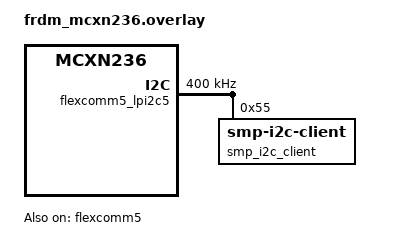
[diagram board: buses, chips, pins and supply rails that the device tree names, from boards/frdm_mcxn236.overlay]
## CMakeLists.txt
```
# Copyright (c) 2026 Aerlync Labs Inc.
# SPDX-License-Identifier: Apache-2.0

cmake_minimum_required(VERSION 3.20.0)
find_package(Zephyr REQUIRED HINTS $ENV{ZEPHYR_BASE})
project(smp_i2c_client_dfu)

target_sources(app PRIVATE src/main.c)
zephyr_library_link_libraries(MCUBOOT_BOOTUTIL)

# The firmware image this controller uploads to the target is supplied at
# build time via CONFIG_APP_DFU_IMAGE_FILE (a signed MCUboot image, e.g.
# build/zephyr/zephyr.signed.bin), not committed to the tree. When it is unset
# a tiny placeholder is generated so the sample still builds; the placeholder
# is not a usable image.
set(dfu_image_inc ${ZEPHYR_BINARY_DIR}/include/generated/dfu_image.inc)
if(CONFIG_APP_DFU_IMAGE_FILE STREQUAL "")
  message(WARNING
    "CONFIG_APP_DFU_IMAGE_FILE is not set; building with a placeholder image. "
    "Set it to a signed image to perform a real DFU.")
  set(dfu_image_src ${CMAKE_CURRENT_BINARY_DIR}/placeholder_dfu_image.bin)
  file(WRITE ${dfu_image_src} "PLACEHOLDER-IMAGE")
else()
  set(dfu_image_src ${CONFIG_APP_DFU_IMAGE_FILE})
endif()
generate_inc_file_for_target(app ${dfu_image_src} ${dfu_image_inc})
```

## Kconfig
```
# Copyright (c) 2026 Aerlync Labs Inc.
# SPDX-License-Identifier: Apache-2.0

mainmenu "MCUmgr SMP I2C Client DFU Sample"

config APP_DFU_IMAGE_FILE
	string "Path to the signed MCUboot image to upload"
	default ""
	help
	  Absolute path to a signed image (for example build/zephyr/zephyr.signed.bin)
	  that this controller uploads to the target over I2C. When empty, a
	  non-functional placeholder is compiled in so the sample still builds.

source "Kconfig.zephyr"
```

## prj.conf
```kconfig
#
# Copyright (c) 2026 Aerlync Labs Inc.
# SPDX-License-Identifier: Apache-2.0
#

CONFIG_LOG=y
CONFIG_LOG_MODE_IMMEDIATE=y
CONFIG_I2C=y
CONFIG_GPIO=y

# MCUboot bootutil library for image structures
CONFIG_MCUBOOT_BOOTUTIL_LIB=y
CONFIG_BASE64=y
CONFIG_CRC=y

# Stacks
CONFIG_MAIN_STACK_SIZE=4096
CONFIG_SYSTEM_WORKQUEUE_STACK_SIZE=4096
CONFIG_MCUMGR_TRANSPORT_WORKQUEUE_STACK_SIZE=4096

# MCUmgr Core & Net Buffer Pool
CONFIG_MCUMGR=y
CONFIG_NET_BUF=y
CONFIG_ZCBOR=y
CONFIG_MCUMGR_TRANSPORT_NETBUF_SIZE=384
CONFIG_MCUMGR_TRANSPORT_NETBUF_COUNT=8

# SMP Client Subsystem
CONFIG_SMP_CLIENT=y
CONFIG_SMP_CMD_RETRY_TIME=500
CONFIG_SMP_CMD_DEFAULT_LIFE_TIME=15

# I2C Client Transport
CONFIG_MCUMGR_TRANSPORT_I2C_CLIENT=y
CONFIG_MCUMGR_TRANSPORT_I2C_CLIENT_MTU=256
CONFIG_MCUMGR_TRANSPORT_I2C_CLIENT_POLL_MS=5
CONFIG_MCUMGR_TRANSPORT_I2C_CLIENT_POLL_RETRIES=2000

# MCUmgr Client Groups
CONFIG_MCUMGR_GRP_OS_CLIENT=y
CONFIG_MCUMGR_GRP_OS_CLIENT_ECHO=y
CONFIG_MCUMGR_GRP_OS_CLIENT_RESET=y

CONFIG_MCUMGR_GRP_IMG_CLIENT=y
CONFIG_MCUMGR_GRP_IMG_FLASH_OPERATION_TIMEOUT=20
```

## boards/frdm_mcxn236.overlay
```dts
/*
 * Copyright (c) 2026 Aerlync Labs Inc.
 * SPDX-License-Identifier: Apache-2.0
 *
 * frdm_mcxn236 acting as the I2C controller for the DFU sample. Wire three
 * lines across to the target board running zephyr,smp-i2c: SDA on header pin
 * J2-18 (Arduino D14), SCL on J2-20 (Arduino D15), and ground on J3-14. The
 * target uses the same pins, so it is pin J2-18 to J2-18, J2-20 to J2-20,
 * and J3-14 to J3-14.
 */

/* Enable gpio0 for LED status indicators */
&gpio0 {
	status = "okay";
};

/* Parent LPFLEXCOMM5 container */
&flexcomm5 {
	status = "okay";
};

/* FlexComm5 configured in LPI2C controller mode */
&flexcomm5_lpi2c5 {
	pinctrl-0 = <&pinmux_flexcomm5_lpi2c>;
	pinctrl-names = "default";
	clock-frequency = <I2C_BITRATE_FAST>;
	status = "okay";

	smp_i2c_client: smp-i2c-client@55 {
		compatible = "zephyr,smp-i2c-client";
		reg = <0x55>;
		status = "okay";
	};
};
```

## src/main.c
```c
/*
 * Copyright (c) 2026 Aerlync Labs Inc.
 *
 * SPDX-License-Identifier: Apache-2.0
 *
 * Firmware update of a target board over I2C, using the SMP client APIs.
 * The target runs an MCUmgr SMP server on the zephyr,smp-i2c transport. This
 * controller echoes the target, uploads a signed image to the second slot,
 * marks it for test, resets the target, and confirms the image once the
 * target answers again.
 */

#include <zephyr/kernel.h>
#include <zephyr/device.h>
#include <zephyr/drivers/gpio.h>
#include <zephyr/logging/log.h>
#include <zephyr/sys/byteorder.h>
#include <string.h>

#include <zephyr/mgmt/mcumgr/mgmt/mgmt.h>
#include <zephyr/mgmt/mcumgr/smp/smp.h>
#include <zephyr/mgmt/mcumgr/smp/smp_client.h>
#include <zephyr/mgmt/mcumgr/transport/smp.h>
#include <zephyr/mgmt/mcumgr/grp/os_mgmt/os_mgmt_client.h>
#include <zephyr/mgmt/mcumgr/grp/img_mgmt/img_mgmt_client.h>

/*
 * The signed image to upload is injected at build time from
 * CONFIG_APP_DFU_IMAGE_FILE (see CMakeLists.txt and Kconfig); it is not
 * committed to the tree.
 */
static const uint8_t dfu_image[] = {
#include "dfu_image.inc"
};
#define DFU_IMAGE_SIZE sizeof(dfu_image)

LOG_MODULE_REGISTER(smp_i2c_client_dfu, LOG_LEVEL_INF);

#define UPLOAD_CHUNK_SIZE 160U
#define SHA256_LEN        32U

/* Optional LEDs for visual feedback */
static const struct gpio_dt_spec led_green = GPIO_DT_SPEC_GET_OR(DT_ALIAS(led1), gpios, {0});
static const struct gpio_dt_spec led_red = GPIO_DT_SPEC_GET_OR(DT_ALIAS(led0), gpios, {0});

static struct smp_client_object smp_client;
static struct os_mgmt_client os_client;
static struct img_mgmt_client img_client;
static struct mcumgr_image_data img_slots[4];

struct mcuboot_hdr {
	uint32_t ih_magic;
	uint32_t ih_load_addr;
	uint16_t ih_hdr_size;
	uint16_t ih_protect_tlv_size;
	uint32_t ih_img_size;
	uint32_t ih_flags;
	struct {
		uint8_t major;
		uint8_t minor;
		uint16_t revision;
		uint32_t build_num;
	} ih_ver;
	uint32_t _pad;
} __packed;

struct tlv_info {
	uint16_t it_magic;
	uint16_t it_tlv_tot;
} __packed;

struct tlv_entry {
	uint8_t it_type;
	uint8_t _pad;
	uint16_t it_len;
} __packed;

static bool extract_sha256(const uint8_t *img, size_t size, uint8_t *sha_out)
{
	if (size < sizeof(struct mcuboot_hdr)) {
		return false;
	}

	const struct mcuboot_hdr *hdr = (const struct mcuboot_hdr *)img;

	if (sys_le32_to_cpu(hdr->ih_magic) != 0x96f3b83d) {
		LOG_WRN("MCUboot magic missing in image");
		return false;
	}

	uint32_t hdr_sz = sys_le16_to_cpu(hdr->ih_hdr_size);
	uint32_t img_sz = sys_le32_to_cpu(hdr->ih_img_size);
	uint32_t prot_sz = sys_le16_to_cpu(hdr->ih_protect_tlv_size);
	size_t tlv_off = hdr_sz + img_sz + prot_sz;

	if (tlv_off + sizeof(struct tlv_info) > size) {
		LOG_WRN("Image too short for TLV area");
		return false;
	}

	const struct tlv_info *tinfo = (const struct tlv_info *)(img + tlv_off);

	if (sys_le16_to_cpu(tinfo->it_magic) != 0x6907) {
		LOG_WRN("TLV magic mismatch: 0x%04x", sys_le16_to_cpu(tinfo->it_magic));
		return false;
	}

	size_t cur = tlv_off + sizeof(struct tlv_info);
	size_t end = tlv_off + sys_le16_to_cpu(tinfo->it_tlv_tot);

	if (end > size) {
		end = size;
	}

	while (cur + sizeof(struct tlv_entry) <= end) {
		const struct tlv_entry *entry = (const struct tlv_entry *)(img + cur);
		uint16_t entry_len = sys_le16_to_cpu(entry->it_len);

		if (entry->it_type == 0x10 && entry_len == SHA256_LEN) {
			memcpy(sha_out, img + cur + sizeof(struct tlv_entry), SHA256_LEN);
			return true;
		}
		cur += sizeof(struct tlv_entry) + entry_len;
	}

	return false;
}

int main(void)
{
	int rc;
	uint8_t sha256[SHA256_LEN];
	bool has_sha;
	struct mcumgr_image_state state_res;

	if (led_green.port && gpio_is_ready_dt(&led_green)) {
		gpio_pin_configure_dt(&led_green, GPIO_OUTPUT_INACTIVE);
	}
	if (led_red.port && gpio_is_ready_dt(&led_red)) {
		gpio_pin_configure_dt(&led_red, GPIO_OUTPUT_INACTIVE);
	}

	LOG_INF("SMP I2C client DFU, image size %u bytes", DFU_IMAGE_SIZE);

	has_sha = extract_sha256(dfu_image, DFU_IMAGE_SIZE, sha256);
	if (has_sha) {
		LOG_HEXDUMP_INF(sha256, SHA256_LEN, "image SHA-256:");
	}

	LOG_INF("Initializing SMP I2C client transport");
	rc = smp_client_object_init(&smp_client, SMP_I2C_CLIENT_TRANSPORT);
	if (rc != MGMT_ERR_EOK) {
		LOG_ERR("Failed to initialize SMP Client object: %d", rc);
		return rc;
	}

	os_mgmt_client_init(&os_client, &smp_client);
	img_mgmt_client_init(&img_client, &smp_client, ARRAY_SIZE(img_slots), img_slots);

	/* Allow target I2C bus listener to be ready */
	k_msleep(2000);

	/* Step 1: echo the target to confirm the link is up. */
	LOG_INF("[1/6] Echo ping to target");
	rc = os_mgmt_client_echo(&os_client, "ping", 4);
	if (rc != MGMT_ERR_EOK) {
		LOG_ERR("Echo failed: %d (check I2C wiring and target firmware)", rc);
		if (led_red.port) {
			gpio_pin_set_dt(&led_red, 1);
		}
		return rc;
	}
	LOG_INF("Target reachable over I2C");

	/* Step 2: read the current image state. */
	LOG_INF("[2/6] Reading image state from target");
	rc = img_mgmt_client_state_read(&img_client, &state_res);
	if (rc == MGMT_ERR_EOK) {
		LOG_INF("Target reported %d image slots:", state_res.image_list_length);
		for (int i = 0; i < state_res.image_list_length; i++) {
			LOG_INF("  Slot %u: version=%s active=%d confirmed=%d pending=%d",
				state_res.image_list[i].slot_num, state_res.image_list[i].version,
				state_res.image_list[i].flags.active,
				state_res.image_list[i].flags.confirmed,
				state_res.image_list[i].flags.pending);
		}
	} else {
		LOG_WRN("Failed to read image state: %d (continuing anyway)", rc);
	}

	/* Step 3: start the upload session to slot 1. */
	LOG_INF("[3/6] Starting upload to slot 1 (%u bytes)", DFU_IMAGE_SIZE);
	rc = img_mgmt_client_upload_init(&img_client, DFU_IMAGE_SIZE, 0,
					 has_sha ? (const char *)sha256 : NULL);
	if (rc != MGMT_ERR_EOK) {
		LOG_ERR("img_mgmt_client_upload_init failed: %d", rc);
		return rc;
	}

	/* Step 4: stream the image in chunks. */
	LOG_INF("[4/6] Uploading image");
	size_t offset = 0;
	int chunk_idx = 0;
	int total_chunks = (DFU_IMAGE_SIZE + UPLOAD_CHUNK_SIZE - 1) / UPLOAD_CHUNK_SIZE;
	int64_t t_start = k_uptime_get();

	while (offset < DFU_IMAGE_SIZE) {
		size_t len = MIN(UPLOAD_CHUNK_SIZE, DFU_IMAGE_SIZE - offset);
		struct mcumgr_image_upload upload_res;

		rc = img_mgmt_client_upload(&img_client, &dfu_image[offset], len, &upload_res);
		if (rc != MGMT_ERR_EOK || upload_res.status != MGMT_ERR_EOK) {
			LOG_ERR("Upload error at offset %zu: rc=%d status=%d", offset, rc,
				upload_res.status);
			if (led_red.port) {
				gpio_pin_set_dt(&led_red, 1);
			}
			return rc ? rc : upload_res.status;
		}

		chunk_idx++;
		if (chunk_idx % 25 == 1 || chunk_idx == total_chunks) {
			LOG_INF("  Chunk %3d/%d | offset %5zu / %5u B (%3zu%%)", chunk_idx,
				total_chunks, offset + len, DFU_IMAGE_SIZE,
				((offset + len) * 100) / DFU_IMAGE_SIZE);
		}

		offset += len;
	}

	int64_t duration_ms = k_uptime_get() - t_start;

	LOG_INF("Upload complete in %lld ms (approx %.2f kB/s)", duration_ms,
		(double)DFU_IMAGE_SIZE / (double)duration_ms);

	/* Step 5: mark slot 1 for a test swap, not yet confirmed. */
	LOG_INF("[5/6] Marking slot 1 as the test image");
	rc = img_mgmt_client_state_write(&img_client, has_sha ? (const char *)sha256 : NULL,
					 has_sha ? sizeof(sha256) : 0, false, &state_res);
	if (rc != MGMT_ERR_EOK) {
		LOG_ERR("Failed to stage Slot 1 as test image: %d", rc);
		return rc;
	}
	LOG_INF("Slot 1 staged for a test swap on next boot");

	/* Step 6: reset, health-check the new image, then confirm it. */
	LOG_INF("[6/6] Resetting target");
	rc = os_mgmt_client_reset(&os_client);
	if (rc != MGMT_ERR_EOK) {
		LOG_WRN("Reset command returned %d (target may have rebooted immediately)", rc);
	}

	LOG_INF("Waiting for the target to reboot and MCUboot to swap");
	k_msleep(4000);

	bool target_online = false;

	for (int retry = 1; retry <= 10; retry++) {
		k_msleep(1000);
		rc = os_mgmt_client_echo(&os_client, "healthcheck", 11);
		if (rc == MGMT_ERR_EOK) {
			target_online = true;
			LOG_INF("Target online after %d s", retry + 4);
			break;
		}
	}

	if (!target_online) {
		/*
		 * The new image never answered. Do not confirm it. A swap-based
		 * MCUboot then reverts to the previous image on the next boot.
		 * An overwrite-only MCUboot (CONFIG_BOOT_UPGRADE_ONLY, as on
		 * FRDM-MCXN236) has already replaced the old image, so there is
		 * nothing to revert to.
		 */
		LOG_ERR("Target did not respond after DFU, not confirming the new image");
		if (led_red.port) {
			gpio_pin_set_dt(&led_red, 1);
		}
		return -ETIMEDOUT;
	}

	/*
	 * The new image booted and answers SMP. Confirm the running image now
	 * (hash = NULL) so MCUboot keeps it. With a swap-based MCUboot,
	 * confirming only after this health check keeps the revert-on-failure
	 * safety net; with overwrite-only there is no revert path to protect.
	 */
	rc = img_mgmt_client_state_write(&img_client, NULL, 0, true, &state_res);
	if (rc != MGMT_ERR_EOK) {
		LOG_ERR("Failed to confirm the running image: %d", rc);
		if (led_red.port) {
			gpio_pin_set_dt(&led_red, 1);
		}
		return rc;
	}
	LOG_INF("Running image confirmed permanent.");

	rc = img_mgmt_client_state_read(&img_client, &state_res);
	if (rc == MGMT_ERR_EOK && state_res.image_list_length > 0) {
		LOG_INF("Active Image in Slot 0: Version %s (Confirmed=%d, Active=%d)",
			state_res.image_list[0].version, state_res.image_list[0].flags.confirmed,
			state_res.image_list[0].flags.active);
	}
	if (led_green.port) {
		gpio_pin_set_dt(&led_green, 1);
	}
	LOG_INF("DFU complete, target running the confirmed image");

	return 0;
}
```
